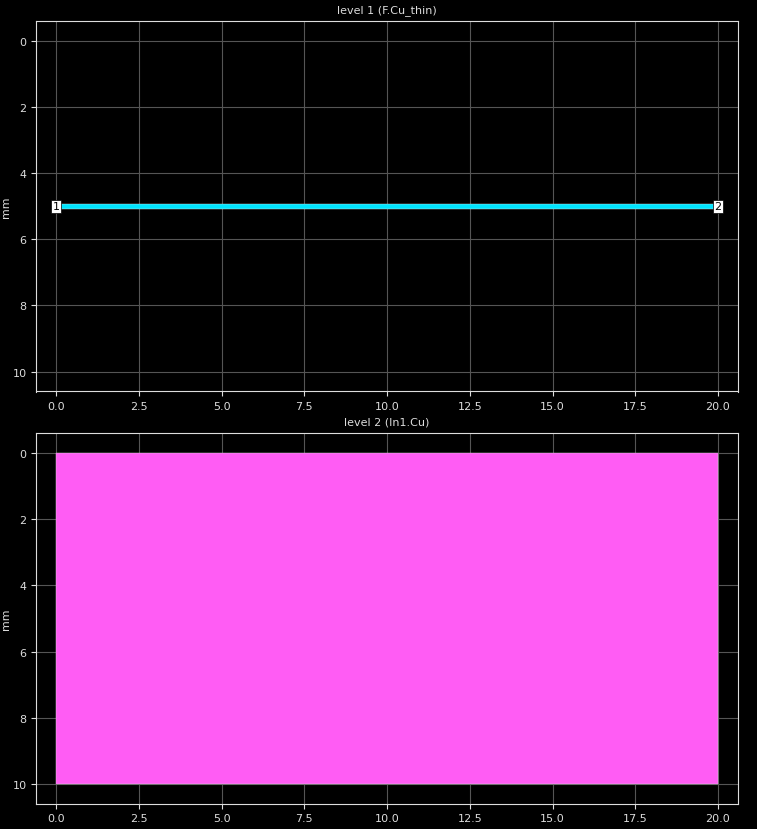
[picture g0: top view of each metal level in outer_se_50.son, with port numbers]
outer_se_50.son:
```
FTYP SONPROJ 19 ! Sonnet Project File
VER 18.52
HEADER
LIC antikernel2.1.51176
DAT 11/18/2021 20:09:08
BUILT_BY_CREATED xgeom 18.52 11/18/2021 19:25:37
BUILT_BY_SAVED sonnet 18.52
MDATE 11/18/2021 20:09:08
HDATE 11/18/2021 20:09:08
END HEADER
DIM
ANG DEG
CAP PF
CON /OH
FREQ GHZ
IND NH
LNG MM
RES OH
END DIM
CONTROL
VARSWP
OPTIONS  -dj
SPEED 1
CACHE_ABS 2
Q_ACC N
END CONTROL
GEO
STF stackup.stf
SYM
TMET "Free Space" 0 FREESPACE 376.7303136 0 0 0
BMET "Free Space" 0 FREESPACE 376.7303136 0 0 0
BOX 0 20 10 4000 2000 20 0
VALVAR WIDTH LNG 0.14 "Dim. Param."
LORGN 0 10 U 
POR1 BOX
POLY 67 1
3
1 50 0 0 0 0 5 
POR1 BOX
POLY 67 1
1
2 50 0 0 0 20 5 
NUM 2
1 5 0 N 67 1 1 100 100 0 0 0 Y
TLAYNAM F.Cu_thin INH
0 4.93
20 4.93
20 5.07
0 5.07
0 4.93
END
2 5 0 N 86 1 1 100 100 0 0 0 Y
TLAYNAM In1.Cu INH
0 0
20 0
20 10
0 10
0 0
END
END GEO
OPT
MAX 100
END OPT
VARSWP
SWPVARS ON
ENABLED Y
FREQ Y AY ABS_ENTRY 0.001 16.0 -1 300 
VAR WIDTH Y 0.08 0.2 0.02
END
END VARSWP
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```
